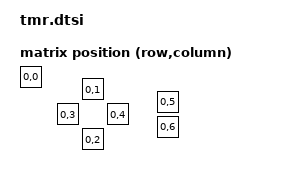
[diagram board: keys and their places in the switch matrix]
#include <dt-bindings/zmk/matrix_transform.h>
#include <dt-bindings/analog-stick/modes.h>
#include <physical_layouts.dtsi>

&adc {
    status = "okay";

    #address-cells = <1>;
    #size-cells = <0>;
    channel@0 {
        reg = <0>;
        zephyr,input-positive = <NRF_SAADC_AIN0>;
        zephyr,gain = "ADC_GAIN_1_4";
        zephyr,reference = "ADC_REF_VDD_1_4";
        zephyr,acquisition-time = <ADC_ACQ_TIME(ADC_ACQ_TIME_MICROSECONDS, 10)>;
        zephyr,resolution = <12>;
    };
    channel@1 {
        reg = <1>;
        zephyr,input-positive = <NRF_SAADC_AIN5>;
        zephyr,gain = "ADC_GAIN_1_4";
        zephyr,reference = "ADC_REF_VDD_1_4";
        zephyr,acquisition-time = <ADC_ACQ_TIME(ADC_ACQ_TIME_MICROSECONDS, 10)>;
        zephyr,resolution = <12>;
    };
    channel@7 {
        reg = <7>;
        zephyr,input-positive = <NRF_SAADC_AIN7>;
        zephyr,gain = "ADC_GAIN_1_4";
        zephyr,reference = "ADC_REF_VDD_1_4";
        zephyr,acquisition-time = <ADC_ACQ_TIME(ADC_ACQ_TIME_MICROSECONDS, 10)>;
        zephyr,resolution = <12>;
    };
};

/ {
    chosen {
        zmk,kscan = &kscan;
        zmk,physical-layout = &physical_layout0;
    };

    physical_layout0: physical_layout_0 {
        compatible = "zmk,physical-layout";
        display-name = "Default Layout";
        kscan = <&kscan>;
        transform = <&default_transform>;
        keys  /*                        w    h    x    y   rot  rx  ry */
            = <&key_physical_attrs    50  50    0    0    0   0   0>  /* 0: kscan dummy */
            , <&key_physical_attrs    50  50  125   25    0   0   0>  /* 1: stick0 up */
            , <&key_physical_attrs    50  50  125  125    0   0   0>  /* 2: stick0 down */
            , <&key_physical_attrs    50  50   75   75    0   0   0>  /* 3: stick0 left */
            , <&key_physical_attrs    50  50  175   75    0   0   0>  /* 4: stick0 right */
            , <&key_physical_attrs    50  50  275   50    0   0   0>  /* 5: stick1 left (X) */
            , <&key_physical_attrs    50  50  275  100    0   0   0>  /* 6: stick1 right (mo 1) */
            ;
    };

    default_transform: keymap_transform_0 {
        compatible = "zmk,matrix-transform";
        columns = <7>;
        rows = <1>;
        map = <RC(0,0) RC(0,1) RC(0,2) RC(0,3) RC(0,4) RC(0,5) RC(0,6)>;
    };

    /* Minimal kscan — ZMK requires one even when all input comes from analog sticks.
       Using kscan-mock with no events so it never fires. */
    kscan: kscan0 {
        compatible = "zmk,kscan-mock";
        columns = <1>;
        rows = <1>;
        events = <0>;
    };

    /* Stick 0: PS5 dual-axis hall-effect joystick (X=AIN0, Y=AIN5) */
    analog_stick0: analog_stick_0 {
        compatible = "zmk,analog-stick";
        io-channels = <&adc 0>, <&adc 1>;
        x-min = <0>;
        x-center = <2035>;
        x-max = <4090>;
        y-min = <0>;
        y-center = <1965>;
        y-max = <4090>;
        deadzone-percent = <10>;
        wait-period-idle = <100>;
        wait-period-active = <8>;

        /* debug wait */
        /* wait-period-active = <500>; */

        /* Biquad IIR filter coefficients (b0, b1, b2, a0, a1, a2) — carried over from HE config */
        filter-coefficients = <0x3ca485df 0x3d2485df 0x3ca485df 0x3f800000 0xbfc7cf71 0x3f242f9d>;
    };

    /* Stick 1: Single-axis trigger on AIN7 (P0.31) */
    analog_stick1: analog_stick_1 {
        compatible = "zmk,analog-stick";
        io-channels = <&adc 7>;
        x-min = <0>;
        x-center = <2012>;
        x-max = <4090>;
        deadzone-percent = <10>;
        wait-period-idle = <100>;
        wait-period-active = <8>;

        /* debug wait */
        /* wait-period-active = <500>; */
        /* Biquad IIR filter coefficients (b0, b1, b2, a0, a1, a2) — carried over from HE config */

        filter-coefficients = <0x3ca485df 0x3d2485df 0x3ca485df 0x3f800000 0xbfc7cf71 0x3f242f9d>;
    };

    /* Listener for stick 0 — layer-aware mode switching.
       Directions reference keymap positions 1-4 (defined in transform above).
       Bindings at those positions are in the keymap and editable via Studio. */
    analog_stick_listener0: analog_stick_listener_0 {
        compatible = "zmk,analog-stick-listener";
        device = <&analog_stick0>;

        layer0 {
            layers = <0>;
            mode = <ANALOG_STICK_MODE_SWITCH>;
            up-position = <1>;
            down-position = <2>;
            left-position = <3>;
            right-position = <4>;
            switch-activation-point = <20>;
            switch-hysteresis = <2>;
        };
        layer1 {
            layers = <1>;
            mode = <ANALOG_STICK_MODE_MOUSE>;
            mouse-min-speed = <1>;
            mouse-max-speed = <15>;
        };
    };

    /* Listener for stick 1 — single-axis trigger.
       Directions reference keymap positions 5-6.
       Right direction is &mo 1 in the keymap — enables mouse layer! */
    analog_stick_listener1: analog_stick_listener_1 {
        compatible = "zmk,analog-stick-listener";
        device = <&analog_stick1>;

        layer0 {
            layers = <0 1>;
            mode = <ANALOG_STICK_MODE_SWITCH>;
            left-position = <5>;
            right-position = <6>;
            switch-activation-point = <20>;
            switch-hysteresis = <2>;
        };
    };
};
